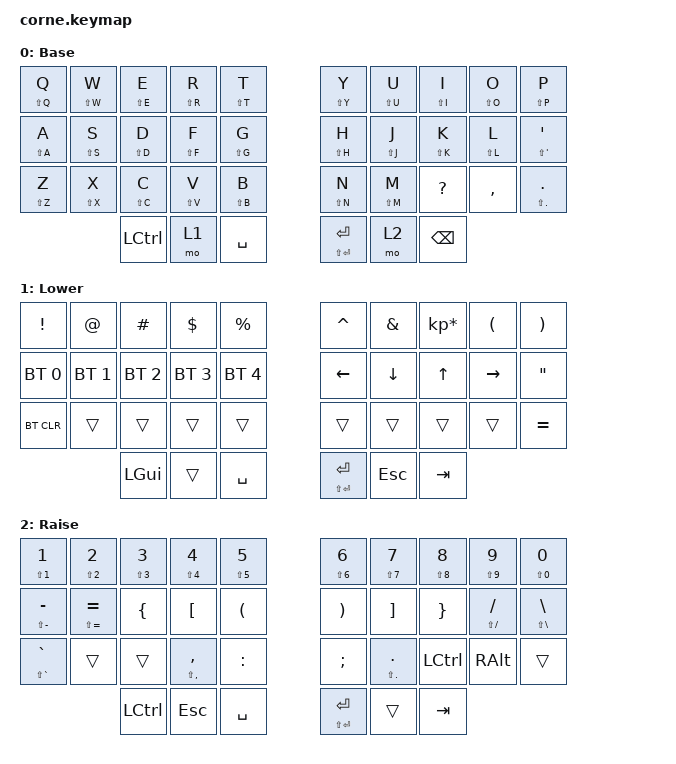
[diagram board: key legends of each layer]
/*
 * Copyright (c) 2020 The ZMK Contributors
 *
 * SPDX-License-Identifier: MIT
 */

#include <behaviors.dtsi>
#include <dt-bindings/zmk/bt.h>
#include <dt-bindings/zmk/keys.h>

/ {
    chosen { zmk,physical-layout = &foostan_corne_5col_layout; };

    behaviors {
        as: auto_shift {
            compatible = "zmk,behavior-hold-tap";
            #binding-cells = <2>;
            tapping_term_ms = <200>;
            quick_tap_ms = <0>;
            flavor = "tap-preferred";
            bindings = <&kp>, <&kp>;
        };
    };

    keymap {
        compatible = "zmk,keymap";

        default_layer {
            // -----------------------------------------------------------------------------------------
            // |  Q  |  W  |  E  |  R  |  T  |     |  Y  |  U   |  I   |  O   | P |
            // |  A  |  S  |  D  |  F  |  G  |     |  H  |  J   |  K   |  L   | ' | 
            // |  Z  |  X  |  C  |  V  |  B  |     |  N  |  M   | CTRL | META | . |
            //             | GUI | LWR | SPC |     | ENT | RSE  | BSPC |

            display-name = "Base";
            bindings = <
&as LS(Q) Q  &as LS(W) W  &as LS(E) E  &as LS(R) R  &as LS(T) T             &as LS(Y) Y  &as LS(U) U      &as LS(I) I   &as LS(O) O  &as LS(P) P
&as LS(A) A  &as LS(S) S  &as LS(D) D  &as LS(F) F  &as LS(G) G             &as LS(H) H  &as LS(J) J      &as LS(K) K   &as LS(L) L  &as LS(SQT) SQT
&as LS(Z) Z  &as LS(X) X  &as LS(C) C  &as LS(V) V  &as LS(B) B             &as LS(N) N  &as LS(M) M      &kp QUESTION  &kp COMMA    &as LS(DOT) DOT
                                       &kp LCTRL    &mo 1        &kp SPACE               &as LS(RET) RET  &mo 2         &kp BSPC
            >;
        };

        lower_layer {
            // -----------------------------------------------------------------------------------------
            // | !     |  @  |  #  |  $  |  %  |     |  ^  |  &  |  *  |  (  |  )  |
            // | BT1   | BT2 | BT3 | BT4 | BT5 |     | LFT | DWN |  UP | RGT |     |
            // | BTCLR |     |     |     |     |     |     |     |     |     |     |
            //               | GUI |     | SPC |     | ENT | ESC | TAB |

            display-name = "Lower";
            bindings = <
&kp EXCL      &kp AT        &kp HASH      &kp DLLR      &kp PRCNT                &kp CARET  &kp AMPS         &kp KP_MULTIPLY  &kp LPAR   &kp RPAR
&bt BT_SEL 0  &bt BT_SEL 1  &bt BT_SEL 2  &bt BT_SEL 3  &bt BT_SEL 4             &kp LEFT   &kp DOWN         &kp UP           &kp RIGHT  &kp DOUBLE_QUOTES
&bt BT_CLR    &trans        &trans        &trans        &trans                   &trans     &trans           &trans           &trans     &kp EQUAL
                                          &kp LGUI      &trans        &kp SPACE             &as LS(RET) RET  &kp ESC          &kp TAB
            >;
        };

        raise_layer {
            // -----------------------------------------------------------------------------------------
            // | 1! |  2@ |  3# |  4$ |  5% |     |  6^ |  7& |  8* |  9(  |  0)  |
            // | -_ |  =+ |  {  |  [  |  (  |     |  )  |  ]  |  }  |  /?  |  \|  |
            // | `~ |     |     |  ,< |  :  |     |  ;  |  .> | CTRL| META |      |
            //            | GUI | ESC | SPC |     | ENT |     | TAB |

            display-name = "Raise";
            bindings = <
&as LS(N1) N1        &as LS(N2) N2        &as LS(N3) N3  &as LS(N4) N4        &as LS(N5) N5             &as LS(N6) N6  &as LS(N7) N7    &as LS(N8) N8  &as LS(N9) N9      &as LS(N0) N0
&as LS(MINUS) MINUS  &as LS(EQUAL) EQUAL  &kp LBRC       &kp LBKT             &kp LPAR                  &kp RPAR       &kp RBKT         &kp RBRC       &as LS(FSLH) FSLH  &as LS(BSLH) BSLH
&as LS(GRAVE) GRAVE  &trans               &trans         &as LS(COMMA) COMMA  &kp COLON                 &kp SEMI       &as LS(DOT) DOT  &kp LCTRL      &kp RALT           &trans
                                                         &kp LCTRL            &kp ESC        &kp SPACE                 &as LS(RET) RET  &trans         &kp TAB
            >;
        };

        extra_1 { status = "reserved"; };

        extra_2 { status = "reserved"; };

        extra_3 { status = "reserved"; };
    };
};
